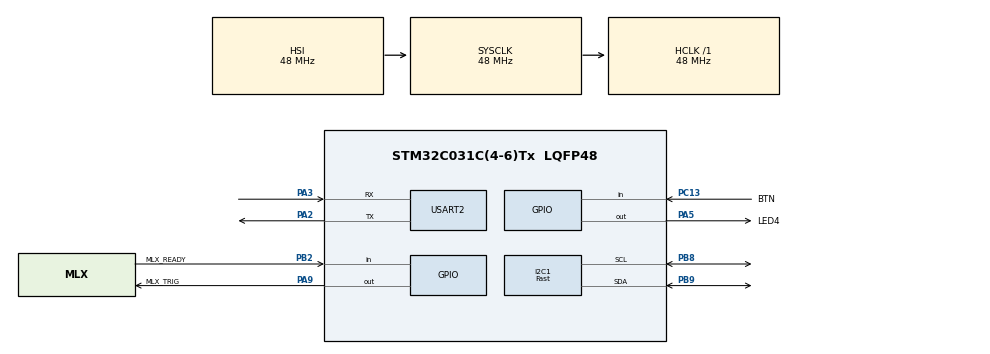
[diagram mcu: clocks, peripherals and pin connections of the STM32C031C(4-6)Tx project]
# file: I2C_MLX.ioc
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I2C1.AddressingMode=I2C_ADDRESSINGMODE_7BIT
I2C1.Analog_Filter=I2C_ANALOGFILTER_ENABLE
I2C1.CustomTiming=Disabled
I2C1.DualAddressMode=I2C_DUALADDRESS_DISABLE
I2C1.GeneralCallMode=I2C_GENERALCALL_DISABLE
I2C1.I2C_Coeff_DF=0
I2C1.I2C_Fall_Time=2
I2C1.I2C_Rise_Time=26
I2C1.I2C_Speed_Mode=I2C_Fast
I2C1.NoStretchMode=I2C_NOSTRETCH_DISABLE
I2C1.OwnAddress=I2C_ADDRESS
I2C1.Speed=400
I2C1.Timing=0x00601854
Mcu.Family=STM32C0
Mcu.Name=STM32C031C(4-6)Tx
Mcu.Package=LQFP48
Mcu.UserConstants=I2C_ADDRESS,0x3E
NVIC.I2C1_IRQn=true\:0\:0\:false\:false\:true\:true\:true\:true
PA13.Mode=Serial_Wire
PA13.Signal=DEBUG_SWDIO
PA14-BOOT0.Mode=Serial_Wire
PA14-BOOT0.Signal=DEBUG_SWCLK
PA2.Mode=Asynchronous
PA2.Signal=USART2_TX
PA3.Mode=Asynchronous
PA3.Signal=USART2_RX
PA5.GPIO_Label=LED4
PA5.Signal=GPIO_Output
PA9.GPIO_Label=MLX_TRIG
PA9.Signal=GPIO_Output
PB2.GPIO_Label=MLX_READY
PB2.Signal=GPIO_Input
PB8.GPIO_Pu=GPIO_PULLUP
PB8.Mode=I2C
PB8.Signal=I2C1_SCL
PB9.GPIO_Pu=GPIO_PULLUP
PB9.Mode=I2C
PB9.Signal=I2C1_SDA
PC13.GPIO_Label=BTN
PC13.Signal=GPIO_Input
ProjectManager.HeapSize=0x200
ProjectManager.StackSize=0x400
ProjectManager.TargetToolchain=STM32CubeIDE
RCC.ADCFreq_Value=48000000
RCC.AHBFreq_Value=48000000
RCC.CortexFreq_Value=48000000
RCC.EXTERNAL_CLOCK_VALUE=12288000
RCC.HCLKFreq_Value=48000000
RCC.HSE_VALUE=8000000
RCC.HSISYSCLKDivider=RCC_HSI_DIV1
RCC.HSI_VALUE=48000000
RCC.LSE_VALUE=32768
RCC.SYSCLKFreq_VALUE=48000000
USART2.OverrunDisableParam=ADVFEATURE_OVERRUN_DISABLE
USART2.VirtualMode-Asynchronous=VM_ASYNC
board=NUCLEO-C031C6

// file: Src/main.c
/* USER CODE BEGIN Header */
/**
  ******************************************************************************
  * @file    I2C/I2C_TwoBoards_AdvComIT/Src/main.c
  *
  ******************************************************************************
  */
/* USER CODE END Header */
#include "main.h"

/* USER CODE BEGIN Includes */
#include "stm32c0xx_nucleo.h"
#include <string.h>
#include <stdio.h>
/* USER CODE END Includes */

/* USER CODE BEGIN PD */
#define dbgprintf(fmt,...) dprintf(1, fmt, ## __VA_ARGS__)
/* USER CODE END PD */

I2C_HandleTypeDef hi2c1;

UART_HandleTypeDef huart2;

/* USER CODE BEGIN PV */
uint32_t g_last_i2c_err;
/* USER CODE END PV */

void SystemClock_Config(void);
static void MX_GPIO_Init(void);
static void MX_I2C1_Init(void);
static void MX_USART2_UART_Init(void);
/* USER CODE BEGIN PFP */
/* Private function prototypes -----------------------------------------------*/
void test(void);
/* USER CODE END PFP */

int main(void)
{

  /* MCU Configuration--------------------------------------------------------*/

  /* Reset of all peripherals, Initializes the Flash interface and the Systick. */
  HAL_Init();

  /* Configure the system clock */
  SystemClock_Config();

  /* Initialize all configured peripherals */
  MX_GPIO_Init();
  MX_I2C1_Init();
  MX_USART2_UART_Init();
  /* USER CODE BEGIN 2 */
  /* Configure LED4 */
  BSP_LED_Init(LED4);

  dbgprintf("MLX I2C test3\r\n");

  /* Configure User push-button */
  BSP_PB_Init(BUTTON_USER, BUTTON_MODE_GPIO);
  /* USER CODE END 2 */

  /* Infinite loop */
  /* USER CODE BEGIN WHILE */
  test();

  while (1)
  {
    /* USER CODE END WHILE */
  }
}

void SystemClock_Config(void)
{
  RCC_OscInitTypeDef RCC_OscInitStruct = {0};
  RCC_ClkInitTypeDef RCC_ClkInitStruct = {0};

  __HAL_FLASH_SET_LATENCY(FLASH_LATENCY_1);

  /** Initializes the RCC Oscillators according to the specified parameters
  * in the RCC_OscInitTypeDef structure.
  */
  RCC_OscInitStruct.OscillatorType = RCC_OSCILLATORTYPE_HSI;
  RCC_OscInitStruct.HSIState = RCC_HSI_ON;
  RCC_OscInitStruct.HSIDiv = RCC_HSI_DIV1;
  RCC_OscInitStruct.HSICalibrationValue = RCC_HSICALIBRATION_DEFAULT;
  if (HAL_RCC_OscConfig(&RCC_OscInitStruct) != HAL_OK)
  {
    Error_Handler();
  }

  /** Initializes the CPU, AHB and APB buses clocks
  */
  RCC_ClkInitStruct.ClockType = RCC_CLOCKTYPE_HCLK|RCC_CLOCKTYPE_SYSCLK
                              |RCC_CLOCKTYPE_PCLK1;
  RCC_ClkInitStruct.SYSCLKSource = RCC_SYSCLKSOURCE_HSI;
  RCC_ClkInitStruct.SYSCLKDivider = RCC_SYSCLK_DIV1;
  RCC_ClkInitStruct.AHBCLKDivider = RCC_HCLK_DIV1;
  RCC_ClkInitStruct.APB1CLKDivider = RCC_APB1_DIV1;

  if (HAL_RCC_ClockConfig(&RCC_ClkInitStruct, FLASH_LATENCY_1) != HAL_OK)
  {
    Error_Handler();
  }
}

static void MX_I2C1_Init(void)
{

  /* USER CODE BEGIN I2C1_Init 0 */
// TODO check & reset I2C................
  /* USER CODE END I2C1_Init 0 */

  hi2c1.Instance = I2C1;
  hi2c1.Init.Timing = 0x00601854; //Cube, @400 KHz
  hi2c1.Init.AddressingMode = I2C_ADDRESSINGMODE_7BIT;
  hi2c1.Init.DualAddressMode = I2C_DUALADDRESS_DISABLE;
  //hi2c1.Init.OwnAddress1 = I2C_ADDRESS;
  hi2c1.Init.OwnAddress2 = 0;
  hi2c1.Init.OwnAddress2Masks = I2C_OA2_NOMASK;
  hi2c1.Init.GeneralCallMode = I2C_GENERALCALL_DISABLE;
  hi2c1.Init.NoStretchMode = I2C_NOSTRETCH_DISABLE;
  if (HAL_I2C_Init(&hi2c1) != HAL_OK)
  {
    Error_Handler();
  }

  /** Configure Analog filter
  */
  if (HAL_I2CEx_ConfigAnalogFilter(&hi2c1, I2C_ANALOGFILTER_ENABLE) != HAL_OK)
  {
    Error_Handler();
  }

  /** Configure Digital filter
  */
  if (HAL_I2CEx_ConfigDigitalFilter(&hi2c1, 0) != HAL_OK)
  {
    Error_Handler();
  }

}

static void MX_USART2_UART_Init(void)
{

  huart2.Instance = USART2;
  huart2.Init.BaudRate = 115200;
  huart2.Init.WordLength = UART_WORDLENGTH_8B;
  huart2.Init.StopBits = UART_STOPBITS_1;
  huart2.Init.Parity = UART_PARITY_NONE;
  huart2.Init.Mode = UART_MODE_TX_RX;
  huart2.Init.HwFlowCtl = UART_HWCONTROL_NONE;
  huart2.Init.OverSampling = UART_OVERSAMPLING_16;
  huart2.Init.OneBitSampling = UART_ONE_BIT_SAMPLE_DISABLE;
  huart2.Init.ClockPrescaler = UART_PRESCALER_DIV1;
  huart2.AdvancedInit.AdvFeatureInit = UART_ADVFEATURE_RXOVERRUNDISABLE_INIT;
  huart2.AdvancedInit.OverrunDisable = UART_ADVFEATURE_OVERRUN_DISABLE;
  if (HAL_UART_Init(&huart2) != HAL_OK)
  {
    Error_Handler();
  }

}

static void MX_GPIO_Init(void)
{
  GPIO_InitTypeDef GPIO_InitStruct = {0};

  /* GPIO Ports Clock Enable */
  __HAL_RCC_GPIOC_CLK_ENABLE();
  __HAL_RCC_GPIOA_CLK_ENABLE();
  __HAL_RCC_GPIOB_CLK_ENABLE();

  /*Configure GPIO pin Output Level */
  HAL_GPIO_WritePin(GPIOA, LED4_Pin|MLX_TRIG_Pin, GPIO_PIN_RESET);

  /*Configure GPIO pin : BTN_Pin */
  GPIO_InitStruct.Pin = BTN_Pin;
  GPIO_InitStruct.Mode = GPIO_MODE_INPUT;
  GPIO_InitStruct.Pull = GPIO_NOPULL;
  HAL_GPIO_Init(BTN_GPIO_Port, &GPIO_InitStruct);

  /*Configure GPIO pins : LED4_Pin MLX_TRIG_Pin */
  GPIO_InitStruct.Pin = LED4_Pin|MLX_TRIG_Pin;
  GPIO_InitStruct.Mode = GPIO_MODE_OUTPUT_PP;
  GPIO_InitStruct.Pull = GPIO_NOPULL;
  GPIO_InitStruct.Speed = GPIO_SPEED_FREQ_LOW;
  HAL_GPIO_Init(GPIOA, &GPIO_InitStruct);

  /*Configure GPIO pin : MLX_READY_Pin */
  GPIO_InitStruct.Pin = MLX_READY_Pin;
  GPIO_InitStruct.Mode = GPIO_MODE_INPUT;
  GPIO_InitStruct.Pull = GPIO_NOPULL;
  HAL_GPIO_Init(MLX_READY_GPIO_Port, &GPIO_InitStruct);

}

/* USER CODE BEGIN 4 */

void I2C_MLX_transact(const uint8_t *txbuf, unsigned txlen, uint8_t *rxbuf, unsigned rxlen, uint8_t *status)
{
    HAL_StatusTypeDef st;
    static uint16_t DevAddress = 0;
    if (0 == DevAddress) {
        // Detect on known addresses:
        DevAddress = 0b00011000;
        st = HAL_I2C_IsDeviceReady(&hi2c1, DevAddress|1, 1, 10);
        if (st == HAL_OK) goto found;

        DevAddress = 0b00011010;
        st = HAL_I2C_IsDeviceReady(&hi2c1, DevAddress|1, 1, 10);
        if (st == HAL_OK) goto found;

        DevAddress = 0b00011100;
        st = HAL_I2C_IsDeviceReady(&hi2c1, DevAddress|1, 1, 10);
        if (st == HAL_OK) goto found;

        DevAddress = 0b00011110;
        st = HAL_I2C_IsDeviceReady(&hi2c1, DevAddress|1, 1, 10);
        if (st == HAL_OK) goto found;

        *status = 0xFF;
        dbgprintf("MLX not found on I2C\n");
        return;
        found:;
    }

    uint16_t MemAddress = 0;
    uint16_t MemAddSize = 0;
    uint8_t pData[10];
    uint16_t Size = 0;
    uint32_t Timeout = 10;

    // ST lib limitation: "mem address" up to 2 bytes I2C_MEMADD_SIZE_8BIT/I2C_MEMADD_SIZE_16BIT
    // For register write: do separate write and read. Not documented but seems to work.
    // (as in the circuitpython driver by Kevin Townsend)
    if (txlen > 2 && rxlen == 0) {
        st = HAL_I2C_Master_Transmit(&hi2c1, DevAddress, (void*)txbuf, txlen, Timeout);
        if (st != HAL_OK) {
            //I2C error!
            uint32_t err = HAL_I2C_GetError(&hi2c1);
            g_last_i2c_err = err; //Bitmask: HAL_I2C_ERROR_AF=0x4 HAL_I2C_ERROR_TIMEOUT=0x20
            *status = 0xFF;//$$$$$$TBD
            dbgprintf("MLX I2C WR err %4.4X\n", (unsigned)err);
            *status = 0xFF;
            return;
        }
        // Now read status:
        st = HAL_I2C_Master_Receive(&hi2c1, DevAddress, pData, 1, Timeout);
        if (st != HAL_OK) {
            //I2C error!
            uint32_t err = HAL_I2C_GetError(&hi2c1);
            g_last_i2c_err = err;
            *status = 0xFF;
            dbgprintf("MLX I2C RD err %4.4X\n", (unsigned)err);
            *status = 0xFF;
            return;
        }
        *status = pData[0];
        return;
    }

    // txbuf[0] is command
    switch(txlen)
    {
    case 1:
        MemAddSize = I2C_MEMADD_SIZE_8BIT;
        MemAddress = (uint8_t)txbuf[0];
        break;
    case 2:
        MemAddSize = I2C_MEMADD_SIZE_16BIT;
        MemAddress = (uint16_t)(txbuf[1] | (uint16_t)txbuf[0] << 8);
        break;
    default: // NOT IMPL YET!
        *status = 0xFF;
        return;
    }

    // Input data: at least one byte
    Size = 1 + rxlen;
    if (Size >= sizeof(pData))
    {
        //NOT IMPL! TODO
        *status = 0xFF;
        return;
    }

    st = HAL_I2C_Mem_Read(&hi2c1, DevAddress, MemAddress, MemAddSize, pData, Size, Timeout);
    if (st == HAL_OK)
    {
        *status = pData[0];
        memcpy(rxbuf, &pData[1], rxlen);
    }
    else
    {
        //I2C error!
        uint32_t err = HAL_I2C_GetError(&hi2c1);
        g_last_i2c_err = err; //Bitmask: HAL_I2C_ERROR_AF=0x4 HAL_I2C_ERROR_TIMEOUT=0x20
        *status = 0xFF;//$$$$$$TBD
        dbgprintf("MLX I2C err %4.4X\n", (unsigned)err);
    }
}

int _write(int fd, const char *p, unsigned len)
{
    if (len == 0) return 0;
    if (!p || len > 500) { // sanity
        __BKPT(3);
    }
    HAL_UART_Transmit(&huart2, (uint8_t*)p, len, HAL_MAX_DELAY);
    return len;
}

void wait_button(void)
{
  // BUTT1 active low
  while (BSP_PB_GetState(BUTTON_USER) != GPIO_PIN_RESET)
  {
  }

  while (BSP_PB_GetState(BUTTON_USER) != GPIO_PIN_SET)
  {
  }
}

_Bool check_button(void)
{
  // BUTT1 active low
  return (BSP_PB_GetState(BUTTON_USER) == GPIO_PIN_RESET);
}

/* USER CODE END 4 */

void Error_Handler(void)
{
  /* USER CODE BEGIN Error_Handler_Debug */
  /* Error if LED4 is slowly blinking (1 sec. period) */
  while (1)
  {
    __BKPT(3);
    BSP_LED_Toggle(LED4);
    HAL_Delay(1000);
  }
  /* USER CODE END Error_Handler_Debug */
}

#ifdef USE_FULL_ASSERT
/**
  * @brief  Reports the name of the source file and the source line number
  *         where the assert_param error has occurred.
  * @param  file: pointer to the source file name
  * @param  line: assert_param error line source number
  * @retval None
  */
void assert_failed(uint8_t *file, uint32_t line)
{
  /* USER CODE BEGIN 6 */
  /* User can add his own implementation to report the file name and line number,
    ex: printf("Wrong parameters value: file %s on line %d\r\n", file, line) */
  Error_Handler();
  /* USER CODE END 6 */
}
#endif /* USE_FULL_ASSERT */
